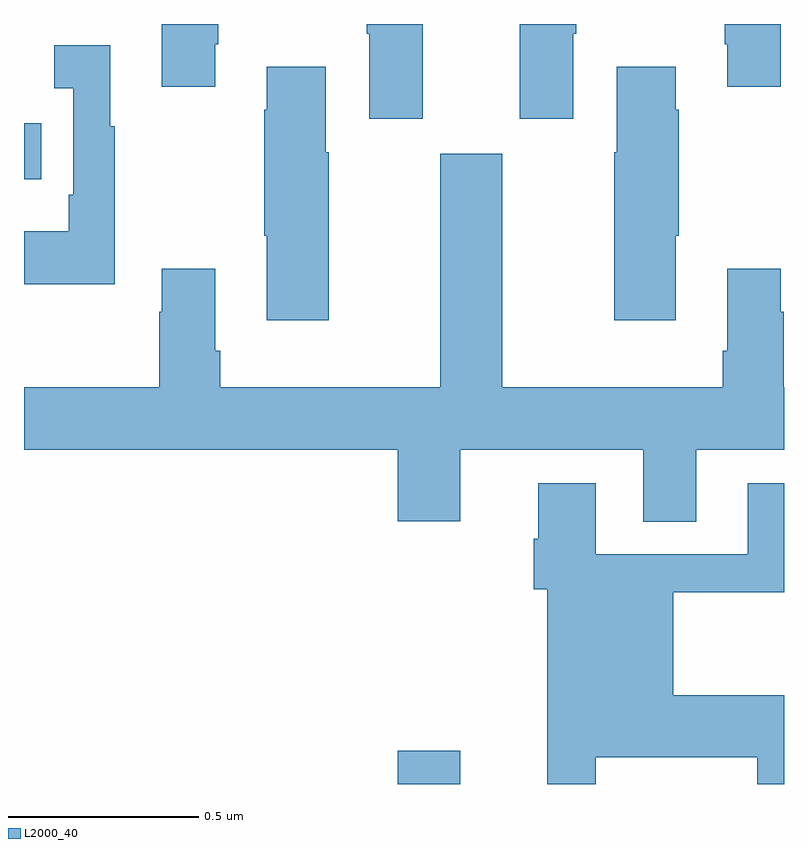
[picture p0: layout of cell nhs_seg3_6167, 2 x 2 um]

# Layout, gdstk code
import gdstk
lib = gdstk.Library(unit=1e-6, precision=1e-09)
def R(c, l, rs):  # rectangles x0, y0, x1, y1
    for r in rs: c.add(gdstk.rectangle(r[:2], r[2:], *l))
def P(c, l, *ps):  # polygons
    for p in ps: c.add(gdstk.Polygon(p, *l))
L2000_40 = (2000, 40)

nhs_seg3_6167 = lib.new_cell('nhs_seg3_6167')
R(nhs_seg3_6167, L2000_40, [(188.984,669.4,189.148,669.487), (188,670.991,188.045,671.139)])
P(nhs_seg3_6167, L2000_40, [(189.049,671.4),(188.902,671.4),(188.902,671.374),(188.909,671.374),(188.909,671.151),(189.049,671.151)],
  [(189.305,671.151),(189.445,671.151),(189.445,671.374),(189.453,671.374),(189.453,671.4),(189.305,671.4)],
  [(188.503,671.347),(188.511,671.347),(188.511,671.4),(188.363,671.4),(188.363,671.235),(188.503,671.235)],
  [(189.991,671.4),(189.844,671.4),(189.844,671.347),(189.851,671.347),(189.851,671.235),(189.991,671.235)],
  [(188.239,671.131),(188.227,671.131),(188.227,671.344),(188.079,671.344),(188.079,671.231),(188.13,671.231),(188.13,670.951),(188.118,670.951),(188.118,670.855),(188,670.855),(188,670.715),(188.239,670.715)],
  [(188.802,671.063),(188.794,671.063),(188.794,671.287),(188.639,671.287),(188.639,671.174),(188.632,671.174),(188.632,670.843),(188.639,670.843),(188.639,670.62),(188.802,670.62)],
  [(189.715,670.843),(189.723,670.843),(189.723,671.174),(189.715,671.174),(189.715,671.287),(189.56,671.287),(189.56,671.063),(189.553,671.063),(189.553,670.62),(189.715,670.62)],
  [(189.148,670.28),(189.629,670.28),(189.629,670.09),(189.769,670.09),(189.769,670.28),(190,670.28),(190,670.444),(189.999,670.444),(189.999,670.643),(189.991,670.643),(189.991,670.756),(189.851,670.756),(189.851,670.54),(189.839,670.54),(189.839,670.444),(189.259,670.444),(189.259,671.059),(189.095,671.059),(189.095,670.444),(188.516,670.444),(188.516,670.54),(188.503,670.54),(188.503,670.756),(188.363,670.756),(188.363,670.643),(188.356,670.643),(188.356,670.444),(188,670.444),(188,670.28),(188.984,670.28),(188.984,670.092),(189.148,670.092)],
  [(189.505,669.47),(189.929,669.47),(189.929,669.4),(190,669.4),(190,669.634),(189.709,669.634),(189.709,669.904),(190,669.904),(190,670.192),(189.905,670.192),(189.905,670.005),(189.505,670.005),(189.505,670.192),(189.353,670.192),(189.353,670.046),(189.341,670.046),(189.341,669.912),(189.377,669.912),(189.377,669.4),(189.505,669.4)])

lib.write_gds('nhs_seg3_6167.gds')
